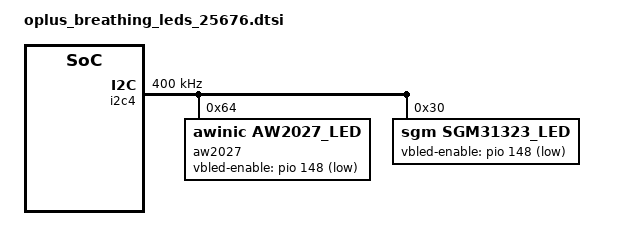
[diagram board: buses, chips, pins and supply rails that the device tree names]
&i2c4 {
	status = "ok";
	clock-frequency = <400000>;
	aw2027@64 {
		compatible = "awinic,aw2027_led";
		reg = <0x64>;
		vbled-enable-gpio = <&pio 148 0x1>;

		aw2027,red {
			aw2027,name = "red";
			aw2027,id = <0>;
			aw2027,imax = <3>;
			aw2027,led_default_trigger = "none";
			aw2027,brightness = <0>;
			aw2027,max-brightness = <15>;
			aw2027,rise-time-ms = <6>;
			aw2027,hold-time-ms = <0>;
			aw2027,fall-time-ms = <6>;
			aw2027,off-time-ms = <0>;
		};

		aw2027,green {
			aw2027,name = "green";
			aw2027,id = <1>;
			aw2027,imax = <3>;
			aw2027,led_default_trigger = "none";
			aw2027,brightness = <0>;
			aw2027,max-brightness = <15>;
			aw2027,rise-time-ms = <6>;
			aw2027,hold-time-ms = <0>;
			aw2027,fall-time-ms = <6>;
			aw2027,off-time-ms = <0>;
		};

		aw2027,blue {
			aw2027,name = "blue";
			aw2027,id = <2>;
			aw2027,imax = <3>;
			aw2027,led_default_trigger = "none";
			aw2027,brightness = <0>;
			aw2027,max-brightness = <15>;
			aw2027,rise-time-ms = <6>;
			aw2027,hold-time-ms = <0>;
			aw2027,fall-time-ms = <6>;
			aw2027,off-time-ms = <0>;
		};
	};
	sgm@30 {
		compatible = "sgm,sgm31323_led";
		reg = <0x30>;
		vbled-enable-gpio = <&pio 148 0x1>;

		sgm,red {
			sgm,name = "red";
			sgm,id = <0>;
			sgm,imax = <1>;
			sgm,led_default_trigger = "none";
			sgm,brightness = <0>;
			sgm,max-brightness = <79>;
			sgm,rise-time-ms = <6>;
			sgm,hold-time-ms = <0>;
			sgm,fall-time-ms = <6>;
			sgm,off-time-ms = <0>;
		};

		sgm,green {
			sgm,name = "green";
			sgm,id = <1>;
			sgm,imax = <1>;
			sgm,led_default_trigger = "none";
			sgm,brightness = <0>;
			sgm,max-brightness = <79>;
			sgm,rise-time-ms = <6>;
			sgm,hold-time-ms = <0>;
			sgm,fall-time-ms = <6>;
			sgm,off-time-ms = <0>;
		};

		sgm,blue {
			sgm,name = "blue";
			sgm,id = <2>;
			sgm,imax = <1>;
			sgm,led_default_trigger = "none";
			sgm,brightness = <0>;
			sgm,max-brightness = <79>;
			sgm,rise-time-ms = <6>;
			sgm,hold-time-ms = <0>;
			sgm,fall-time-ms = <6>;
			sgm,off-time-ms = <0>;
		};
	};
};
